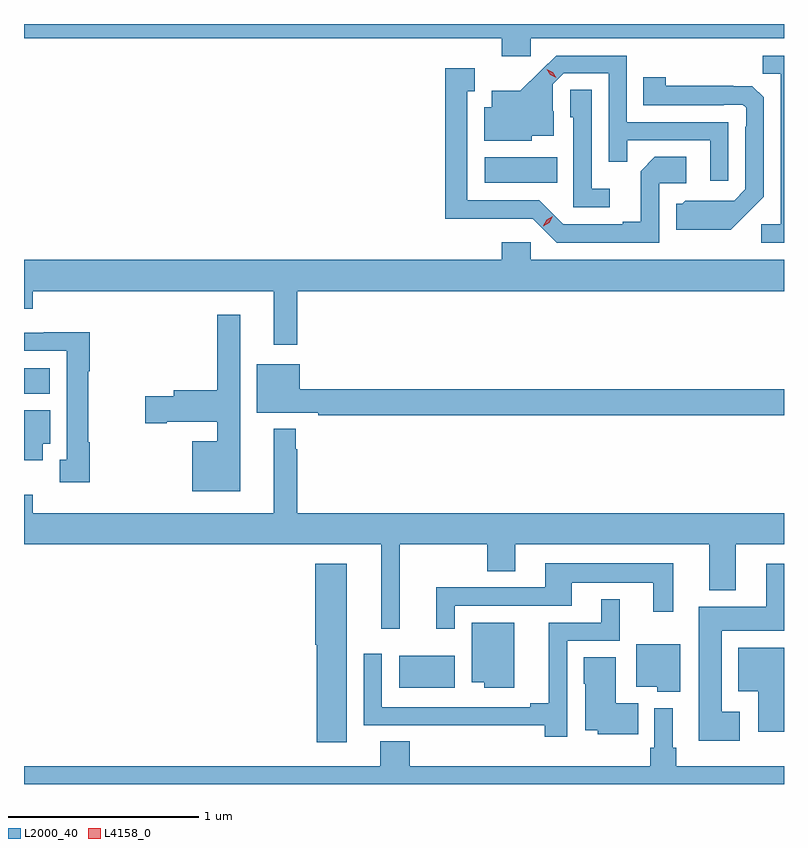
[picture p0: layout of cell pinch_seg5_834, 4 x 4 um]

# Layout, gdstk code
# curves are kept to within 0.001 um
import gdstk
lib = gdstk.Library(unit=1e-6, precision=1e-09)
def R(c, l, rs):  # rectangles x0, y0, x1, y1
    for r in rs: c.add(gdstk.rectangle(r[:2], r[2:], *l))
def P(c, l, *ps):  # polygons
    for p in ps: c.add(gdstk.Polygon(p, *l))
L2000_40 = (2000, 40)
L4158_0 = (4158, 0)

pinch_seg5_834 = lib.new_cell('pinch_seg5_834')
R(pinch_seg5_834, L2000_40, [(772.955,889.304,773.248,889.474), (770.98,890.852,771.115,890.986), (773.406,891.962,773.786,892.096)])
P(pinch_seg5_834, L2000_40, [(773.646,892.724),(774.98,892.724),(774.98,892.798),(770.98,892.798),(770.98,892.724),(773.495,892.724),(773.495,892.629),(773.646,892.629)],
  [(774.98,892.632),(774.868,892.632),(774.868,892.537),(774.963,892.537),(774.963,891.744),(774.861,891.744),(774.861,891.648),(774.98,891.648)],
  [(774.687,892.281),(774.153,892.281),(774.153,892.632),(773.78,892.632),(773.593,892.447),(773.441,892.447),(773.441,892.36),(773.402,892.36),(773.402,892.184),(773.652,892.184),(773.652,892.211),(773.767,892.211),(773.767,892.34),(773.763,892.34),(773.763,892.482),(773.82,892.539),(774.057,892.539),(774.057,892.072),(774.155,892.072),(774.155,892.185),(774.591,892.185),(774.591,891.972),(774.687,891.972)],
  [(774.324,891.96),(774.466,891.96),(774.466,892.1),(774.301,892.1),(774.225,892.024),(774.225,891.757),(774.131,891.757),(774.131,891.744),(773.817,891.744),(773.691,891.87),(773.314,891.87),(773.314,892.443),(773.353,892.443),(773.353,892.564),(773.196,892.564),(773.196,891.773),(773.658,891.774),(773.784,891.648),(774.324,891.648)],
  [(774.781,891.797),(774.873,891.89),(774.873,892.412),(774.814,892.471),(774.357,892.472),(774.357,892.519),(774.238,892.519),(774.238,892.371),(774.662,892.371),(774.662,892.374),(774.762,892.374),(774.78,892.356),(774.78,892.256),(774.777,892.256),(774.777,891.927),(774.717,891.867),(774.46,891.868),(774.444,891.852),(774.413,891.852),(774.413,891.716),(774.701,891.716)],
  [(774.064,891.931),(773.967,891.931),(773.967,892.451),(773.856,892.451),(773.856,892.308),(773.871,892.308),(773.871,891.834),(774.064,891.834)],
  [(772.417,891.392),(774.98,891.392),(774.98,891.556),(773.646,891.556),(773.646,891.649),(773.495,891.649),(773.495,891.556),(770.98,891.556),(770.98,891.299),(771.026,891.299),(771.026,891.392),(772.295,891.392),(772.295,891.111),(772.417,891.111)],
  [(772.117,891.268),(771.996,891.268),(771.996,890.87),(771.767,890.87),(771.767,890.84),(771.618,890.84),(771.618,890.698),(771.73,890.698),(771.73,890.705),(771.996,890.705),(771.996,890.602),(771.866,890.602),(771.866,890.339),(772.117,890.339)],
  [(771.325,890.597),(771.317,890.597),(771.317,890.971),(771.325,890.971),(771.325,891.176),(771.084,891.176),(771.084,891.174),(770.98,891.174),(770.98,891.078),(771.206,891.078),(771.206,890.505),(771.167,890.505),(771.167,890.385),(771.325,890.385)],
  [(774.98,890.876),(772.432,890.876),(772.432,891.007),(772.205,891.007),(772.205,890.753),(772.528,890.753),(772.528,890.74),(774.98,890.74)],
  [(771.079,890.588),(771.118,890.588),(771.118,890.764),(770.98,890.764),(770.98,890.501),(771.079,890.501)],
  [(772.958,890.06),(773.419,890.06),(773.419,889.918),(773.566,889.918),(773.566,890.06),(774.587,890.06),(774.587,889.817),(774.727,889.817),(774.727,890.06),(774.98,890.06),(774.98,890.224),(772.417,890.224),(772.417,890.561),(772.41,890.561),(772.41,890.668),(772.295,890.668),(772.295,890.224),(771.026,890.224),(771.026,890.32),(770.98,890.32),(770.98,890.06),(772.859,890.06),(772.859,889.614),(772.958,889.614)],
  [(773.247,889.737),(773.863,889.737),(773.863,889.856),(774.293,889.856),(774.293,889.704),(774.397,889.704),(774.397,889.96),(773.723,889.96),(773.723,889.833),(773.15,889.833),(773.15,889.614),(773.247,889.614)],
  [(772.678,889.957),(772.514,889.957),(772.514,889.53),(772.52,889.53),(772.52,889.017),(772.678,889.017)],
  [(774.748,889.177),(774.652,889.177),(774.652,889.604),(774.98,889.604),(774.98,889.957),(774.887,889.957),(774.887,889.732),(774.53,889.732),(774.53,889.025),(774.748,889.025)],
  [(773.838,889.551),(774.115,889.551),(774.115,889.771),(774.017,889.771),(774.017,889.647),(773.741,889.647),(773.741,889.223),(773.645,889.223),(773.645,889.203),(772.863,889.203),(772.863,889.483),(772.767,889.483),(772.767,889.107),(773.092,889.107),(773.092,889.106),(773.722,889.106),(773.722,889.047),(773.838,889.047)],
  [(773.56,889.648),(773.336,889.648),(773.336,889.334),(773.402,889.334),(773.402,889.304),(773.56,889.304)],
  [(774.433,889.534),(774.203,889.534),(774.203,889.31),(774.312,889.31),(774.312,889.283),(774.433,889.283)],
  [(774.98,889.516),(774.74,889.516),(774.74,889.286),(774.845,889.286),(774.845,889.074),(774.98,889.074)],
  [(774.212,889.222),(774.094,889.222),(774.094,889.466),(773.927,889.466),(773.927,889.326),(773.933,889.326),(773.933,889.082),(774,889.082),(774,889.061),(774.212,889.061)],
  [(773.009,889.022),(772.856,889.022),(772.856,888.892),(770.98,888.892),(770.98,888.798),(774.98,888.798),(774.98,888.892),(774.413,888.892),(774.413,888.988),(774.394,888.988),(774.394,889.198),(774.297,889.198),(774.297,888.988),(774.277,888.988),(774.277,888.892),(773.009,888.892)])
P(pinch_seg5_834, L4158_0, [(773.78,892.515),(773.749,892.53),(773.731,892.56),(773.731,892.56),(773.731,892.56),(773.762,892.545),(773.78,892.516),(773.78,892.515)],
  [(773.712,891.734),(773.712,891.735),(773.73,891.767),(773.762,891.786),(773.762,891.786),(773.762,891.785),(773.744,891.753),(773.712,891.734)])

lib.write_gds('pinch_seg5_834.gds')
